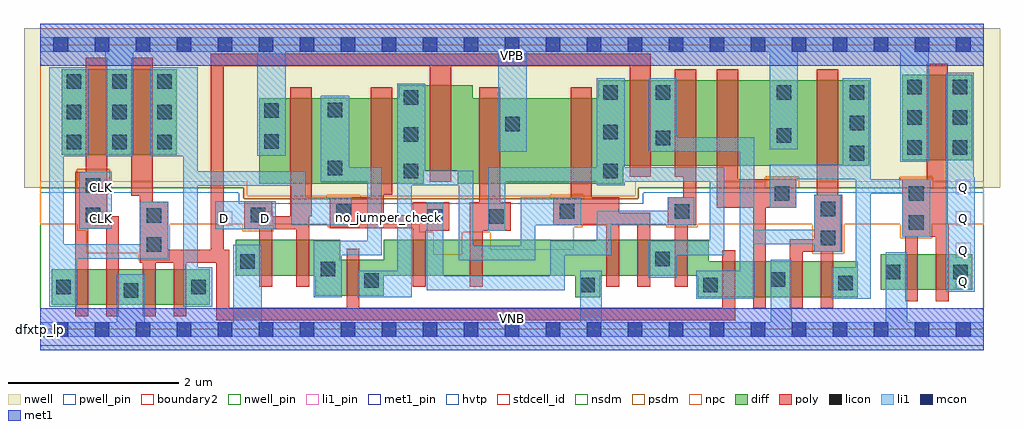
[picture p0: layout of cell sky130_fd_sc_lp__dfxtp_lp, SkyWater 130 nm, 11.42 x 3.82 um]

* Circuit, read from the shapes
.subckt sky130_fd_sc_lp__dfxtp_lp CLK D Q VGND VNB VPB VPWR
XM1 n1 CLK n2 VNB sky130_fd_pr__nfet_01v8 w=0.42 l=0.15
XM2 VGND CLK n1 VNB sky130_fd_pr__nfet_01v8 w=0.42 l=0.15
XM3 n3 n2 VGND VNB sky130_fd_pr__nfet_01v8 w=0.42 l=0.15
XM4 n4 n2 n3 VNB sky130_fd_pr__nfet_01v8 w=0.42 l=0.15
XM5 n5 D VGND VNB sky130_fd_pr__nfet_01v8 w=0.42 l=0.15
XM6 n6 D n5 VNB sky130_fd_pr__nfet_01v8 w=0.42 l=0.15
XM7 n7 n2 n6 VNB sky130_fd_pr__nfet_01v8 w=0.42 l=0.15
XM8 n8 n4 n7 VNB sky130_fd_pr__nfet_01v8 w=0.42 l=0.15
XM9 VGND n9 n8 VNB sky130_fd_pr__nfet_01v8 w=0.42 l=0.15
XM10 n10 n7 VGND VNB sky130_fd_pr__nfet_01v8 w=0.42 l=0.15
XM11 n9 n7 n10 VNB sky130_fd_pr__nfet_01v8 w=0.42 l=0.15
XM12 n11 n4 n9 VNB sky130_fd_pr__nfet_01v8 w=0.42 l=0.15
XM13 n12 n2 n11 VNB sky130_fd_pr__nfet_01v8 w=0.42 l=0.15
XM14 VGND n13 n12 VNB sky130_fd_pr__nfet_01v8 w=0.42 l=0.15
XM15 n14 n11 VGND VNB sky130_fd_pr__nfet_01v8 w=0.42 l=0.15
XM16 n13 n11 n14 VNB sky130_fd_pr__nfet_01v8 w=0.42 l=0.15
XM17 n15 n13 VGND VNB sky130_fd_pr__nfet_01v8 w=0.42 l=0.15
XM18 Q n13 n15 VNB sky130_fd_pr__nfet_01v8 w=0.42 l=0.15
XM19 VPWR CLK n2 VPB sky130_fd_pr__pfet_01v8_hvt w=1 l=0.25
XM20 n4 n2 VPWR VPB sky130_fd_pr__pfet_01v8_hvt w=1 l=0.25
XM21 n6 D VPWR VPB sky130_fd_pr__pfet_01v8_hvt w=1 l=0.25
XM22 n7 n4 n6 VPB sky130_fd_pr__pfet_01v8_hvt w=1 l=0.25
XM23 n16 n2 n7 VPB sky130_fd_pr__pfet_01v8_hvt w=1 l=0.25
XM24 VPWR n9 n16 VPB sky130_fd_pr__pfet_01v8_hvt w=1 l=0.25
XM25 n9 n7 VPWR VPB sky130_fd_pr__pfet_01v8_hvt w=1 l=0.25
XM26 n11 n2 n9 VPB sky130_fd_pr__pfet_01v8_hvt w=1 l=0.25
XM27 n17 n4 n11 VPB sky130_fd_pr__pfet_01v8_hvt w=1 l=0.25
XM28 VPWR n13 n17 VPB sky130_fd_pr__pfet_01v8_hvt w=1 l=0.25
XM29 n13 n11 VPWR VPB sky130_fd_pr__pfet_01v8_hvt w=1 l=0.25
XM30 Q n13 VPWR VPB sky130_fd_pr__pfet_01v8_hvt w=1 l=0.25
.ends

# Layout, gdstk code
import gdstk
lib = gdstk.Library(unit=1e-6, precision=1e-09)
def R(c, l, rs):  # rectangles x0, y0, x1, y1
    for r in rs: c.add(gdstk.rectangle(r[:2], r[2:], *l))
def A(c, l, x, y, w, h, nx, ny, dx, dy):  # array of equal rectangles
    R(c, l, [(x+i*dx, y+j*dy, x+i*dx+w, y+j*dy+h) for i in range(nx) for j in range(ny)])
def P(c, l, *ps):  # polygons
    for p in ps: c.add(gdstk.Polygon(p, *l))
nwell_pin = (64, 16)
nwell = (64, 20)
diff = (65, 20)
poly = (66, 20)
licon = (66, 44)
li1_pin = (67, 16)
li1 = (67, 20)
mcon = (67, 44)
met1_pin = (68, 16)
met1 = (68, 20)
hvtp = (78, 44)
stdcell_id = (81, 4)
nsdm = (93, 44)
psdm = (94, 20)
npc = (95, 20)
pwell_pin = (122, 16)
boundary2 = (236, 0)

sky130_fd_sc_lp__dfxtp_l = lib.new_cell('sky130_fd_sc_lp__dfxtp_lp')
R(sky130_fd_sc_lp__dfxtp_l, nwell_pin, [(0,3.085,11.04,3.33)])
P(sky130_fd_sc_lp__dfxtp_l, nwell, [(11.23,3.52),(-0.19,3.52),(-0.19,1.655),(2.38,1.655),(2.38,1.525),(7,1.525),(7,1.655),(11.23,1.655)])
R(sky130_fd_sc_lp__dfxtp_l, diff, [(0.135,0.285,1.985,0.705), (9.835,0.46,10.905,0.88), (10.085,1.98,10.905,2.98), (0.25,2.045,1.6,3.045)])
P(sky130_fd_sc_lp__dfxtp_l, diff, [(9.565,0.795),(7.825,0.795),(7.825,1.045),(4.02,1.045),(4.02,0.815),(3.51,0.815),(3.51,1.045),(2.285,1.045),(2.285,0.625),(3.22,0.625),(3.22,0.395),(4.02,0.395),(4.02,0.625),(6.26,0.625),(6.26,0.375),(6.55,0.375),(6.55,0.625),(7.695,0.625),(7.695,0.375),(9.565,0.375)],
  [(9.7,2.915),(6.53,2.915),(6.53,2.705),(5.06,2.705),(5.06,2.855),(4.195,2.855),(4.195,2.705),(3.595,2.705),(3.595,2.71),(3.305,2.71),(3.305,2.705),(2.56,2.705),(2.56,1.705),(4.485,1.705),(4.485,1.855),(4.885,1.855),(4.885,1.705),(6.82,1.705),(6.82,1.915),(9.7,1.915)])
P(sky130_fd_sc_lp__dfxtp_l, poly, [(0.92,1.325),(0.785,1.325),(0.785,3.175),(0.535,3.175),(0.535,1.845),(0.41,1.845),(0.41,0.155),(0.56,0.155),(0.56,1.175),(0.77,1.175),(0.77,0.155),(0.92,0.155)],
  [(3.175,2.835),(2.925,2.835),(2.925,1.32),(2.715,1.32),(2.715,1.5),(2.385,1.5),(2.385,1.17),(2.565,1.17),(2.565,0.495),(2.715,0.495),(2.715,1.17),(2.995,1.17),(2.995,0.495),(3.145,0.495),(3.145,1.32),(3.175,1.32)],
  [(4.785,1.485),(4.36,1.485),(4.36,1.335),(4.02,1.335),(4.02,1.575),(4.12,1.575),(4.12,2.835),(3.87,2.835),(3.87,1.545),(3.385,1.545),(3.385,1.185),(4.36,1.185),(4.36,0.495),(4.51,0.495),(4.51,1.155),(4.785,1.155)],
  [(5.505,1.485),(5.385,1.485),(5.385,2.835),(5.135,2.835),(5.135,1.485),(5.025,1.485),(5.025,0.495),(5.175,0.495),(5.175,1.155),(5.505,1.155)],
  [(7.135,1.365),(6.775,1.365),(6.775,1.545),(6.455,1.545),(6.455,2.835),(6.205,2.835),(6.205,1.545),(6,1.545),(6,1.215),(6.625,1.215),(6.625,0.495),(6.775,0.495),(6.775,1.215),(6.985,1.215),(6.985,0.495),(7.135,0.495)],
  [(7.675,3.045),(7.425,3.045),(7.425,1.785),(7.525,1.785),(7.525,1.545),(7.345,1.545),(7.345,1.215),(7.425,1.215),(7.425,0.495),(7.575,0.495),(7.575,1.215),(7.675,1.215)],
  [(8.13,0.925),(7.98,0.925),(7.98,0.255),(3.735,0.255),(3.735,0.945),(3.585,0.945),(3.585,0.255),(2.21,0.255),(2.21,0.93),(2.145,0.93),(2.145,3.075),(4.56,3.075),(4.56,1.725),(4.81,1.725),(4.81,3.075),(6.895,3.075),(6.895,1.785),(7.145,1.785),(7.145,3.225),(1.995,3.225),(1.995,0.93),(1.495,0.93),(1.495,1.495),(1.315,1.495),(1.315,3.175),(1.065,3.175),(1.065,1.565),(1.165,1.565),(1.165,0.78),(1.2,0.78),(1.2,0.155),(1.35,0.155),(1.35,0.78),(1.56,0.78),(1.56,0.155),(1.71,0.155),(1.71,0.78),(2.06,0.78),(2.06,0.105),(8.13,0.105)],
  [(8.845,1.755),(8.165,1.755),(8.165,3.045),(7.915,3.045),(7.915,1.425),(8.34,1.425),(8.34,0.245),(8.49,0.245),(8.49,1.425),(8.845,1.425)],
  [(9.385,1.575),(9.335,1.575),(9.335,3.045),(9.085,3.045),(9.085,1.575),(9.055,1.575),(9.055,1.055),(8.77,1.055),(8.77,0.245),(8.92,0.245),(8.92,0.905),(9.13,0.905),(9.13,0.245),(9.28,0.245),(9.28,0.905),(9.385,0.905)],
  [(10.63,1.235),(10.62,1.235),(10.62,3.11),(10.37,3.11),(10.37,1.755),(10.085,1.755),(10.085,1.085),(10.12,1.085),(10.12,0.33),(10.27,0.33),(10.27,1.085),(10.48,1.085),(10.48,0.33),(10.63,0.33)])
A(sky130_fd_sc_lp__dfxtp_l, licon, 4.255, 1.765, 0.17, 0.17, 1, 3, 0, 0.43)
A(sky130_fd_sc_lp__dfxtp_l, licon, 6.59, 1.765, 0.17, 0.17, 1, 3, 0, 0.46)
A(sky130_fd_sc_lp__dfxtp_l, licon, 9.47, 1.975, 0.17, 0.17, 1, 3, 0, 0.355)
A(sky130_fd_sc_lp__dfxtp_l, licon, 10.145, 2.04, 0.17, 0.17, 1, 3, 0, 0.355)
A(sky130_fd_sc_lp__dfxtp_l, licon, 10.675, 2.04, 0.17, 0.17, 1, 3, 0, 0.355)
A(sky130_fd_sc_lp__dfxtp_l, licon, 0.31, 2.105, 0.17, 0.17, 3, 3, 0.53, 0.355)
R(sky130_fd_sc_lp__dfxtp_l, licon, [(0.975,0.37,1.145,0.54), (0.185,0.41,0.355,0.58), (1.765,0.41,1.935,0.58), (6.32,0.435,6.49,0.605), (7.755,0.435,7.925,0.605), (9.335,0.455,9.505,0.625), (3.79,0.485,3.96,0.655), (8.545,0.5,8.715,0.67), (9.895,0.585,10.065,0.755), (10.685,0.585,10.855,0.755), (3.28,0.62,3.45,0.79), (2.34,0.71,2.51,0.88), (7.195,0.735,7.365,0.905), (1.245,0.905,1.415,1.075), (9.135,0.985,9.305,1.155), (10.165,1.165,10.335,1.335), (4.535,1.235,4.705,1.405), (5.255,1.235,5.425,1.405), (1.245,1.245,1.415,1.415), (2.465,1.25,2.635,1.42), (0.535,1.255,0.705,1.425), (3.465,1.295,3.635,1.465), (6.08,1.295,6.25,1.465), (7.425,1.295,7.595,1.465), (9.135,1.325,9.305,1.495), (8.595,1.505,8.765,1.675), (10.165,1.505,10.335,1.675), (0.535,1.595,0.705,1.765), (3.365,1.805,3.535,1.975), (2.62,2.11,2.79,2.28), (7.2,2.155,7.37,2.325), (8.615,2.185,8.785,2.355), (5.44,2.315,5.61,2.485), (2.62,2.475,2.79,2.645), (3.365,2.48,3.535,2.65), (7.2,2.685,7.37,2.855), (8.615,2.685,8.785,2.855)])
A(sky130_fd_sc_lp__dfxtp_l, li1_pin, 10.715, 0.47, 0.17, 0.17, 1, 4, 0, 0.37)
R(sky130_fd_sc_lp__dfxtp_l, li1_pin, [(0.635,1.21,0.805,1.38), (2.075,1.21,2.245,1.38), (2.555,1.21,2.725,1.38), (0.635,1.58,0.805,1.75)])
R(sky130_fd_sc_lp__dfxtp_l, li1, [(2.045,1.17,2.755,1.5), (0.455,1.175,0.835,1.845)])
P(sky130_fd_sc_lp__dfxtp_l, li1, [(10.065,1.96),(10.065,3.245),(8.865,3.245),(8.865,2.105),(8.535,2.105),(8.535,3.245),(5.69,3.245),(5.69,2.075),(5.36,2.075),(5.36,3.245),(2.87,3.245),(2.87,2.03),(2.54,2.03),(2.54,3.245),(1.09,3.245),(1.09,2.025),(0.76,2.025),(0.76,3.245),(0,3.245),(0,3.415),(11.04,3.415),(11.04,3.245),(10.395,3.245),(10.395,1.96)],
  [(9.895,0.085),(9.895,0.9),(10.145,0.9),(10.145,0.085),(11.04,0.085),(11.04,-0.085),(0,-0.085),(0,0.085),(0.895,0.085),(0.895,0.645),(1.225,0.645),(1.225,0.085),(2.26,0.085),(2.26,0.99),(2.59,0.99),(2.59,0.085),(6.32,0.085),(6.32,0.685),(6.57,0.685),(6.57,0.085),(8.545,0.085),(8.545,0.815),(8.795,0.815),(8.795,0.085)],
  [(10.595,3),(10.925,3),(10.925,1.78),(10.935,1.78),(10.935,0.44),(10.595,0.44)],
  [(5.245,1.895),(6.51,1.895),(6.51,2.935),(6.84,2.935),(6.84,1.895),(8.005,1.895),(8.005,0.865),(7.445,0.865),(7.445,0.605),(7.115,0.605),(7.115,1.035),(7.835,1.035),(7.835,1.725),(6.84,1.725),(6.84,1.685),(6.51,1.685),(6.51,1.725),(5.44,1.725),(5.44,1.155),(5.245,1.155)],
  [(3.71,0.375),(3.71,0.685),(4.175,0.685),(4.175,2.875),(4.505,2.875),(4.505,1.855),(5.065,1.855),(5.065,0.975),(5.62,0.975),(5.62,1.545),(6.33,1.545),(6.33,1.215),(5.79,1.215),(5.79,0.805),(4.895,0.805),(4.895,1.685),(4.345,1.685),(4.345,0.375)],
  [(0.275,0.995),(1.165,0.995),(1.165,1.495),(1.495,1.495),(1.495,0.825),(0.435,0.825),(0.435,0.265),(0.105,0.265),(0.105,3.065),(0.56,3.065),(0.56,2.025),(0.275,2.025)],
  [(7.675,0.355),(7.675,0.685),(8.185,0.685),(8.185,2.075),(7.12,2.075),(7.12,2.935),(7.45,2.935),(7.45,2.245),(8.355,2.245),(8.355,1.165),(9.055,1.165),(9.055,1.575),(9.365,1.575),(9.365,0.905),(9.055,0.905),(9.055,0.995),(8.355,0.995),(8.355,0.355)],
  [(9.715,1.585),(9.715,0.355),(9.255,0.355),(9.255,0.725),(9.545,0.725),(9.545,1.755),(8.845,1.755),(8.845,1.425),(8.535,1.425),(8.535,1.925),(9.39,1.925),(9.39,2.935),(9.72,2.935),(9.72,1.755),(10.415,1.755),(10.415,1.085),(10.085,1.085),(10.085,1.585)],
  [(1.845,1.85),(3.105,1.85),(3.105,1.545),(3.645,1.545),(3.645,1.215),(2.935,1.215),(2.935,1.68),(1.845,1.68),(1.845,0.725),(2.015,0.725),(2.015,0.265),(1.675,0.265),(1.675,2.025),(1.29,2.025),(1.29,3.065),(1.845,3.065)],
  [(3.615,1.895),(3.995,1.895),(3.995,0.865),(3.53,0.865),(3.53,0.375),(3.2,0.375),(3.2,1.035),(3.825,1.035),(3.825,1.725),(3.285,1.725),(3.285,2.73),(3.615,2.73)],
  [(6.51,1.385),(7.345,1.385),(7.345,1.545),(7.655,1.545),(7.655,1.215),(6.68,1.215),(6.68,0.865),(6.14,0.865),(6.14,0.455),(4.525,0.455),(4.525,1.485),(4.715,1.485),(4.715,0.625),(5.97,0.625),(5.97,1.035),(6.51,1.035)])
A(sky130_fd_sc_lp__dfxtp_l, mcon, 0.155, -0.085, 0.17, 0.17, 23, 2, 0.48, 3.33)
R(sky130_fd_sc_lp__dfxtp_l, met1_pin, [(0,0,11.04,0.245), (0,3.085,11.04,3.33)])
R(sky130_fd_sc_lp__dfxtp_l, met1, [(0,-0.245,11.04,0.245), (0,3.085,11.04,3.575)])
P(sky130_fd_sc_lp__dfxtp_l, hvtp, [(11.04,3.33),(0,3.33),(0,1.6),(2.325,1.6),(2.325,1.47),(7.055,1.47),(7.055,1.6),(11.04,1.6)])
R(sky130_fd_sc_lp__dfxtp_l, stdcell_id, [(0,0,11.04,3.33)])
P(sky130_fd_sc_lp__dfxtp_l, nsdm, [(11.04,1.655),(7,1.655),(7,1.525),(2.38,1.525),(2.38,1.655),(0,1.655),(0,-0.19),(11.04,-0.19)])
P(sky130_fd_sc_lp__dfxtp_l, psdm, [(11.04,3.52),(0,3.52),(0,1.655),(0.425,1.655),(0.425,1.875),(0.815,1.875),(0.815,1.655),(2.38,1.655),(2.38,1.53),(2.745,1.53),(2.745,1.525),(3.355,1.525),(3.355,1.575),(3.745,1.575),(3.745,1.525),(5.97,1.525),(5.97,1.575),(6.36,1.575),(6.36,1.525),(7,1.525),(7,1.655),(8.485,1.655),(8.485,1.785),(8.875,1.785),(8.875,1.655),(10.055,1.655),(10.055,1.785),(10.445,1.785),(10.445,1.655),(11.04,1.655)])
P(sky130_fd_sc_lp__dfxtp_l, npc, [(11.04,1.73),(10.435,1.73),(10.435,1.775),(10.065,1.775),(10.065,1.73),(8.865,1.73),(8.865,1.775),(8.495,1.775),(8.495,1.73),(6.96,1.73),(6.96,1.565),(2.42,1.565),(2.42,1.73),(0.805,1.73),(0.805,1.865),(0.435,1.865),(0.435,1.73),(0,1.73),(0,1.23),(0.435,1.23),(0.435,1.155),(0.54,1.155),(0.54,0.89),(1.145,0.89),(1.145,0.805),(1.515,0.805),(1.515,1.23),(2.365,1.23),(2.365,1.15),(2.735,1.15),(2.735,1.23),(3.365,1.23),(3.365,1.195),(3.735,1.195),(3.735,1.23),(4.435,1.23),(4.435,1.135),(4.6,1.135),(4.6,0.87),(4.935,0.87),(4.935,1.135),(5.265,1.135),(5.265,0.93),(6.245,0.93),(6.245,1.195),(6.35,1.195),(6.35,1.23),(7.325,1.23),(7.325,1.195),(7.695,1.195),(7.695,1.23),(9.035,1.23),(9.035,0.885),(9.405,0.885),(9.405,1.23),(10.065,1.23),(10.065,1.065),(10.435,1.065),(10.435,1.23),(11.04,1.23)])
R(sky130_fd_sc_lp__dfxtp_l, pwell_pin, [(0,0,11.04,0.245)])
R(sky130_fd_sc_lp__dfxtp_l, boundary2, [(0,0,11.04,3.33)])
sky130_fd_sc_lp__dfxtp_l.add(gdstk.Label('VNB', (5.52,0.123), layer=64, texttype=59))
sky130_fd_sc_lp__dfxtp_l.add(gdstk.Label('VPB', (5.52,3.208), layer=64, texttype=5))
sky130_fd_sc_lp__dfxtp_l.add(gdstk.Label('dfxtp_lp', (0,0), layer=83, texttype=44))
sky130_fd_sc_lp__dfxtp_l.add(gdstk.Label('no_jumper_check', (4.07,1.305), layer=83, texttype=44))
sky130_fd_sc_lp__dfxtp_l.add(gdstk.Label('VPWR', (5.52,3.208), layer=68, texttype=5))
sky130_fd_sc_lp__dfxtp_l.add(gdstk.Label('VGND', (5.52,0.123), layer=68, texttype=5))
sky130_fd_sc_lp__dfxtp_l.add(gdstk.Label('CLK', (0.72,1.295), layer=67, texttype=5))
sky130_fd_sc_lp__dfxtp_l.add(gdstk.Label('CLK', (0.72,1.665), layer=67, texttype=5))
sky130_fd_sc_lp__dfxtp_l.add(gdstk.Label('D', (2.16,1.295), layer=67, texttype=5))
sky130_fd_sc_lp__dfxtp_l.add(gdstk.Label('D', (2.64,1.295), layer=67, texttype=5))
sky130_fd_sc_lp__dfxtp_l.add(gdstk.Label('Q', (10.8,0.555), layer=67, texttype=5))
sky130_fd_sc_lp__dfxtp_l.add(gdstk.Label('Q', (10.8,0.925), layer=67, texttype=5))
sky130_fd_sc_lp__dfxtp_l.add(gdstk.Label('Q', (10.8,1.295), layer=67, texttype=5))
sky130_fd_sc_lp__dfxtp_l.add(gdstk.Label('Q', (10.8,1.665), layer=67, texttype=5))

lib.write_gds('sky130_fd_sc_lp__dfxtp_lp.gds')
